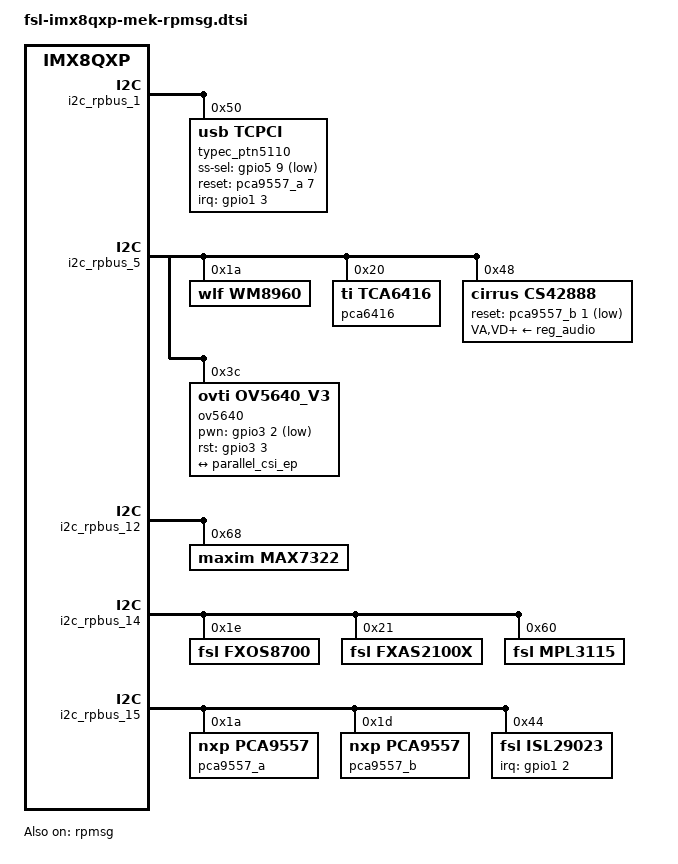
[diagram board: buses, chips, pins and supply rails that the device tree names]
/*
 * Copyright 2019 NXP
 *
 * This program is free software; you can redistribute it and/or
 * modify it under the terms of the GNU General Public License
 * as published by the Free Software Foundation; either version 2
 * of the License, or (at your option) any later version.
 *
 * This program is distributed in the hope that it will be useful,
 * but WITHOUT ANY WARRANTY; without even the implied warranty of
 * MERCHANTABILITY or FITNESS FOR A PARTICULAR PURPOSE.  See the
 * GNU General Public License for more details.
 */

#include "fsl-imx8qxp-mek.dtsi"

/delete-node/ &i2c0_cm40;
/delete-node/ &i2c1;

&i2c_rpbus_1 {
	#address-cells = <1>;
	#size-cells = <0>;
	status = "okay";

	typec_ptn5110: typec@50 {
		compatible = "usb,tcpci";
		pinctrl-names = "default";
		pinctrl-0 = <&pinctrl_typec>;
		reg = <0x50>;
		interrupt-parent = <&gpio1>;
		interrupts = <3 IRQ_TYPE_LEVEL_LOW>;
		ss-sel-gpios = <&gpio5 9 GPIO_ACTIVE_LOW>;
		reset-gpios = <&pca9557_a 7 GPIO_ACTIVE_HIGH>;
		src-pdos = <0x380190c8 0x3803c0c8>;
		port-type = "drp";
		sink-disable;
		default-role = "source";
		status = "okay";
	};
};

&i2c_rpbus_5 {
	#address-cells = <1>;
	#size-cells = <0>;
	status = "okay";

	wm8960: wm8960@1a {
		compatible = "wlf,wm8960";
		reg = <0x1a>;
		clocks = <&clk IMX8QXP_AUD_MCLKOUT0>;
		clock-names = "mclk";
		wlf,shared-lrclk;
		power-domains = <&pd_mclk_out0>;
		assigned-clocks = <&clk IMX8QXP_AUD_PLL0_DIV>,
				<&clk IMX8QXP_AUD_ACM_AUD_PLL_CLK0_DIV>,
				<&clk IMX8QXP_AUD_ACM_AUD_REC_CLK0_DIV>,
				<&clk IMX8QXP_AUD_MCLKOUT0>;
		assigned-clock-rates = <786432000>, <49152000>, <12288000>, <12288000>;
	};

	pca6416: gpio@20 {
		compatible = "ti,tca6416";
		reg = <0x20>;
		gpio-controller;
		#gpio-cells = <2>;
	};

	cs42888: cs42888@48 {
		compatible = "cirrus,cs42888";
		reg = <0x48>;
		clocks = <&clk IMX8QXP_AUD_MCLKOUT0>;
		clock-names = "mclk";
		VA-supply = <&reg_audio>;
		VD-supply = <&reg_audio>;
		VLS-supply = <&reg_audio>;
		VLC-supply = <&reg_audio>;
		reset-gpio = <&pca9557_b 1 1>;
		power-domains = <&pd_mclk_out0>;
		assigned-clocks = <&clk IMX8QXP_AUD_PLL0_DIV>,
				<&clk IMX8QXP_AUD_ACM_AUD_PLL_CLK0_DIV>,
				<&clk IMX8QXP_AUD_ACM_AUD_REC_CLK0_DIV>,
				<&clk IMX8QXP_AUD_MCLKOUT0>;
		assigned-clock-rates = <786432000>, <49152000>, <12288000>, <12288000>;
		fsl,txs-rxm;
		status = "okay";
	};

	ov5640: ov5640@3c {
		compatible = "ovti,ov5640_v3";
		reg = <0x3c>;
		pinctrl-names = "default";
		pinctrl-0 = <&pinctrl_parallel_csi>;
		clocks = <&clk IMX8QXP_PARALLEL_CSI_MISC0_CLK>;
		clock-names = "csi_mclk";
		pwn-gpios = <&gpio3 2 GPIO_ACTIVE_LOW>;
		rst-gpios = <&gpio3 3 GPIO_ACTIVE_HIGH>;
		csi_id = <0>;
		mclk = <24000000>;
		mclk_source = <0>;
		status = "okay";
		port {
			ov5640_ep: endpoint {
				remote-endpoint = <&parallel_csi_ep>;
			};
		};
	};

};

&i2c_rpbus_12 {
	#address-cells = <1>;
	#size-cells = <0>;
	status = "okay";

	max7322: gpio@68 {
		compatible = "maxim,max7322";
		reg = <0x68>;
		gpio-controller;
		#gpio-cells = <2>;
	};
};

&i2c_rpbus_14 {
	#address-cells = <1>;
	#size-cells = <0>;
	status = "okay";

	fxos8700@1e {
		compatible = "fsl,fxos8700";
		reg = <0x1e>;
		interrupt-open-drain;
	};

	fxas2100x@21 {
		compatible = "fsl,fxas2100x";
		reg = <0x21>;
		interrupt-open-drain;
	};

	mpl3115@60 {
		compatible = "fsl,mpl3115";
		reg = <0x60>;
		interrupt-open-drain;
	};
};

&i2c_rpbus_15 {
	#address-cells = <1>;
	#size-cells = <0>;
	status = "okay";

	pca9557_a: gpio@1a {
		compatible = "nxp,pca9557";
		reg = <0x1a>;
		gpio-controller;
		#gpio-cells = <2>;
	};

	pca9557_b: gpio@1d {
		compatible = "nxp,pca9557";
		reg = <0x1d>;
		gpio-controller;
		#gpio-cells = <2>;
	};

	isl29023@44 {
		pinctrl-names = "default";
		pinctrl-0 = <&pinctrl_isl29023>;
		compatible = "fsl,isl29023";
		reg = <0x44>;
		rext = <499>;
		interrupt-parent = <&gpio1>;
		interrupts = <2 2>;
	};
};

&rpmsg{
	/*
	 * 64K for one rpmsg instance:
	 */
	vdev-nums = <2>;
	reg = <0x0 0x90000000 0x0 0x20000>;
	status = "okay";
};

&reg_can_en {
	status = "disabled";
};

&reg_can_stby {
	status = "disabled";
};

&intmux_cm40 {
	status = "disabled";
};

&flexcan1 {
	status = "disabled";
};

&flexcan2 {
	status = "disabled";
};

&flexspi0 {
	status = "disabled";
};

&lpuart3 {
	status = "disabled";
};
